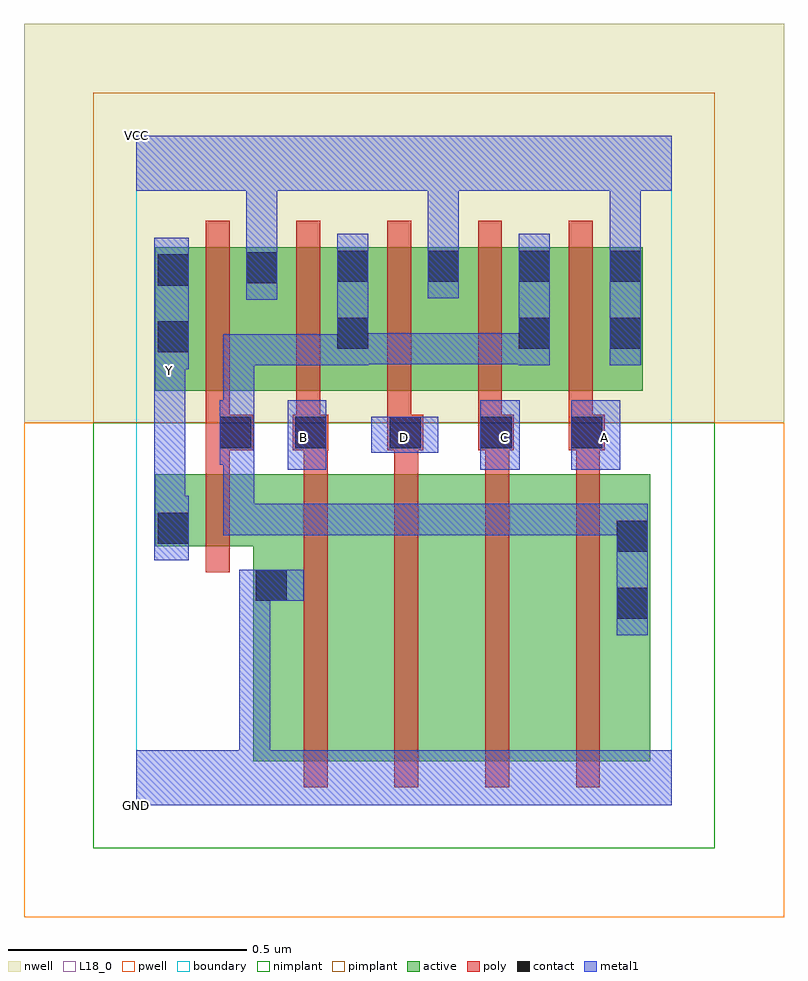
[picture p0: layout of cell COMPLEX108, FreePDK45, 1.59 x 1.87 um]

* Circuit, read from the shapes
.subckt COMPLEX108 A B C D GND VCC Y
M1 GND n1 Y VSUBS nfet w=0.15u l=0.05u
M2 n2 B GND VSUBS nfet w=0.6u l=0.05u
M3 n3 D n2 VSUBS nfet w=0.6u l=0.05u
M4 n4 C n3 VSUBS nfet w=0.6u l=0.05u
M5 n1 A n4 VSUBS nfet w=0.6u l=0.05u
M6 VCC n1 Y n5 pfet w=0.3u l=0.05u
M7 n1 B VCC n5 pfet w=0.3u l=0.05u
M8 VCC D n1 n5 pfet w=0.3u l=0.05u
M9 n1 C VCC n5 pfet w=0.3u l=0.05u
M10 VCC A n1 n5 pfet w=0.3u l=0.05u
.ends

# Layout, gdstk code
import gdstk
lib = gdstk.Library(unit=1e-6, precision=1e-09)
def R(c, l, rs):  # rectangles x0, y0, x1, y1
    for r in rs: c.add(gdstk.rectangle(r[:2], r[2:], *l))
def A(c, l, x, y, w, h, nx, ny, dx, dy):  # array of equal rectangles
    R(c, l, [(x+i*dx, y+j*dy, x+i*dx+w, y+j*dy+h) for i in range(nx) for j in range(ny)])
active = (1, 0)
pwell = (2, 0)
nwell = (3, 0)
nimplant = (4, 0)
pimplant = (5, 0)
poly = (9, 0)
contact = (10, 0)
metal1 = (11, 0)
L18_0 = (18, 0)
boundary = (235, 0)

complex108 = lib.new_cell('COMPLEX108')
A(complex108, active, 0.225, 0.867, 0.265, 0.3, 4, 1, 0.19, 0)
R(complex108, active, [(0.245,0.092,0.47,0.692), (0.245,0.092,0.32,0.692), (0.47,0.092,0.66,0.692), (0.66,0.092,0.85,0.692), (0.85,0.092,1.075,0.692), (1,0.145,1.075,0.692), (0.04,0.542,0.32,0.692), (0.04,0.542,0.115,0.692), (0.04,0.867,0.115,1.167), (0.04,0.867,0.3,1.167), (0.795,0.867,0.87,1.167), (0.985,0.867,1.06,1.167), (0.415,0.875,0.49,1.167), (0.225,1.002,0.3,1.167), (0.605,1.002,0.68,1.167)])
R(complex108, pwell, [(-0.235,-0.235,1.355,0.8)])
R(complex108, nwell, [(-0.235,0.8,1.355,1.635)])
R(complex108, nimplant, [(-0.09,-0.09,1.21,0.8)])
R(complex108, pimplant, [(-0.09,0.8,1.21,1.49)])
A(complex108, poly, 0.35, 0.037, 0.05, 0.71, 4, 1, 0.19, 0)
A(complex108, poly, 0.35, 0.697, 0.05, 0.095, 4, 1, 0.19, 0)
A(complex108, poly, 0.525, 0.742, 0.075, 0.075, 3, 1, 0.19, 0)
A(complex108, poly, 0.145, 0.767, 0.05, 0.095, 5, 1, 0.19, 0)
A(complex108, poly, 0.145, 0.812, 0.05, 0.41, 5, 1, 0.19, 0)
R(complex108, poly, [(0.145,0.487,0.195,0.747), (0.145,0.697,0.195,0.792), (0.145,0.742,0.245,0.817), (0.327,0.742,0.402,0.817)])
A(complex108, contact, 0.53, 0.747, 0.065, 0.065, 3, 1, 0.19, 0)
A(complex108, contact, 0.42, 1.095, 0.065, 0.065, 4, 1, 0.19, 0)
R(complex108, contact, [(1.005,0.39,1.07,0.455), (0.25,0.427,0.315,0.492), (1.005,0.53,1.07,0.595), (0.045,0.547,0.11,0.612), (0.175,0.747,0.24,0.812), (0.332,0.747,0.397,0.812), (0.045,0.947,0.11,1.012), (0.42,0.955,0.485,1.02), (0.8,0.955,0.865,1.02), (0.99,0.955,1.055,1.02), (0.045,1.087,0.11,1.152), (0.23,1.092,0.295,1.157)])
R(complex108, metal1, [(0,0,1.12,0.115), (0.215,0.05,0.28,0.492), (1.005,0.355,1.07,0.63), (0.215,0.427,0.28,0.492), (0.215,0.427,0.28,0.492), (0.215,0.427,0.35,0.492), (0.037,0.512,0.11,0.647), (0.182,0.565,0.247,0.63), (0.182,0.565,0.42,0.63), (0.182,0.565,0.247,0.777), (0.355,0.565,0.42,0.63), (0.355,0.565,0.42,0.63), (0.355,0.565,0.42,0.63), (0.355,0.565,0.622,0.63), (0.557,0.565,0.622,0.63), (0.557,0.565,0.622,0.63), (0.557,0.565,0.622,0.63), (0.557,0.565,0.77,0.63), (0.705,0.565,0.77,0.63), (0.705,0.565,0.77,0.63), (0.705,0.565,0.77,0.63), (0.705,0.565,1.07,0.63), (1.005,0.565,1.07,0.63), (1.005,0.565,1.07,0.63), (0.037,0.582,0.102,0.907), (0.317,0.702,0.397,0.847), (0.72,0.702,0.802,0.847), (0.91,0.702,1.012,0.847), (0.175,0.712,0.24,0.847), (0.175,0.712,0.247,0.777), (0.182,0.712,0.247,0.777), (0.182,0.712,0.247,0.985), (0.492,0.737,0.632,0.812), (0.037,0.842,0.102,0.977), (0.037,0.912,0.102,0.977), (0.037,0.912,0.11,1.187), (0.182,0.92,0.247,0.985), (0.182,0.92,0.42,0.985), (0.355,0.92,0.42,0.985), (0.355,0.92,0.485,0.985), (0.42,0.92,0.485,1.195), (0.8,0.92,0.865,1.195), (0.99,0.92,1.055,1.195), (0.42,0.922,0.622,0.987), (0.557,0.922,0.622,0.987), (0.557,0.922,0.622,0.987), (0.557,0.922,0.622,0.987), (0.557,0.922,0.837,0.987), (0.772,0.922,0.837,0.987), (0.772,0.922,0.865,0.987), (0.23,1.057,0.295,1.192), (0.61,1.06,0.675,1.195), (0.23,1.127,0.295,1.35), (0.61,1.13,0.675,1.195), (0.61,1.13,0.675,1.195), (0.61,1.13,0.675,1.35), (0.99,1.13,1.055,1.195), (0.99,1.13,1.055,1.195), (0.99,1.13,1.055,1.35), (0,1.285,1.12,1.4), (0.23,1.285,0.295,1.35), (0.23,1.285,0.295,1.35)])
A(complex108, L18_0, 0.317, 0.737, 0.065, 0.065, 4, 1, 0.21, 0)
R(complex108, L18_0, [(0,0,1.12,0.115), (0.215,0.05,0.28,0.492), (0.215,0.427,0.28,0.492), (0.215,0.427,0.28,0.492), (0.215,0.427,0.35,0.492), (0.037,0.512,0.11,0.647), (0.037,0.582,0.102,0.907), (0.317,0.702,0.397,0.847), (0.72,0.702,0.802,0.847), (0.91,0.702,1.012,0.847), (0.492,0.737,0.632,0.812), (0.037,0.842,0.102,0.977), (0.037,0.877,0.102,0.942), (0.037,0.912,0.11,1.187), (0.037,0.912,0.102,0.977), (0.99,0.92,1.055,1.195), (0.23,1.057,0.295,1.192), (0.61,1.06,0.675,1.195), (0.23,1.127,0.295,1.35), (0.61,1.13,0.675,1.195), (0.61,1.13,0.675,1.195), (0.61,1.13,0.675,1.35), (0.99,1.13,1.055,1.195), (0.99,1.13,1.055,1.195), (0.99,1.13,1.055,1.35), (0,1.285,1.12,1.4), (0.23,1.285,0.295,1.35), (0.23,1.285,0.295,1.35)])
R(complex108, boundary, [(0,0,1.12,1.4)])
complex108.add(gdstk.Label('A', (0.98,0.77), layer=11, texttype=0))
complex108.add(gdstk.Label('B', (0.35,0.77), layer=11, texttype=0))
complex108.add(gdstk.Label('C', (0.77,0.77), layer=11, texttype=0))
complex108.add(gdstk.Label('D', (0.56,0.77), layer=11, texttype=0))
complex108.add(gdstk.Label('Y', (0.07,0.91), layer=11, texttype=0))
complex108.add(gdstk.Label('VCC', (0,1.4), layer=11, texttype=0))
complex108.add(gdstk.Label('GND', (0,0), layer=11, texttype=0))

lib.write_gds('COMPLEX108.gds')
